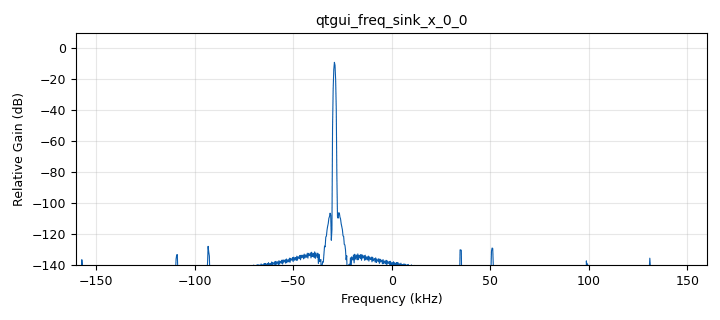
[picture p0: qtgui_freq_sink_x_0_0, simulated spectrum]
<?xml version='1.0' encoding='utf-8'?>
<?grc format='1' created='3.7.10'?>
<flow_graph>
<block>
<key>options</key>
<param><key>id</key><value>timed_xlating_fir_example</value></param>
<param><key>generate_options</key><value>qt_gui</value></param>
</block>
<block>
<key>variable</key>
<param><key>id</key><value>samp_rate</value></param>
<param><key>value</key><value>320000</value></param>
</block>
<block>
<key>variable_qtgui_range</key>
<param><key>id</key><value>strobe_freq</value></param>
<param><key>value</key><value>0</value></param>
<param><key>label</key><value>Freq</value></param>
<param><key>orient</key><value>Qt.Horizontal</value></param>
<param><key>start</key><value>-1*samp_rate/2</value></param>
<param><key>step</key><value>1e3</value></param>
<param><key>stop</key><value>samp_rate/2</value></param>
</block>
<block>
<key>analog_sig_source_x</key>
<param><key>id</key><value>analog_sig_source_x_0</value></param>
<param><key>amp</key><value>1</value></param>
<param><key>freq</key><value>1000</value></param>
<param><key>offset</key><value>0</value></param>
<param><key>type</key><value>complex</value></param>
<param><key>samp_rate</key><value>samp_rate</value></param>
<param><key>waveform</key><value>analog.GR_COS_WAVE</value></param>
</block>
<block>
<key>blocks_add_xx</key>
<param><key>id</key><value>blocks_add_xx_0</value></param>
<param><key>type</key><value>complex</value></param>
</block>
<block>
<key>blocks_ctrlport_monitor_performance</key>
<param><key>id</key><value>blocks_ctrlport_monitor_performance_0</value></param>
<param><key>_enabled</key><value>0</value></param>
<param><key>en</key><value>True</value></param>
</block>
<block>
<key>blocks_file_sink</key>
<param><key>id</key><value>blocks_file_sink_0</value></param>
<param><key>_enabled</key><value>0</value></param>
<param><key>file</key><value>tmp.dat</value></param>
<param><key>type</key><value>complex</value></param>
</block>
<block>
<key>blocks_pdu_set</key>
<param><key>id</key><value>blocks_pdu_set_0</value></param>
<param><key>k</key><value>pmt.intern("freq")</value></param>
<param><key>v</key><value>pmt.from_double(1e9)</value></param>
</block>
<block>
<key>blocks_pdu_set</key>
<param><key>id</key><value>blocks_pdu_set_0_0</value></param>
<param><key>k</key><value>pmt.intern("lo_offset")</value></param>
<param><key>v</key><value>pmt.from_double(13e3)</value></param>
</block>
<block>
<key>blocks_pdu_set</key>
<param><key>id</key><value>blocks_pdu_set_0_0_0</value></param>
<param><key>k</key><value>pmt.intern("time")</value></param>
<param><key>v</key><value>pmt.cons(pmt.from_uint64(4), pmt.from_double(0.123))</value></param>
</block>
<block>
<key>blocks_tag_debug</key>
<param><key>id</key><value>blocks_tag_debug_0</value></param>
<param><key>type</key><value>complex</value></param>
</block>
<block>
<key>blocks_tags_strobe</key>
<param><key>id</key><value>blocks_tags_strobe_0</value></param>
<param><key>key</key><value>pmt.intern("set_freq")</value></param>
<param><key>nsamps</key><value>samp_rate</value></param>
<param><key>type</key><value>complex</value></param>
<param><key>value</key><value>pmt.from_double(strobe_freq)</value></param>
</block>
<block>
<key>blocks_throttle</key>
<param><key>id</key><value>blocks_throttle_0</value></param>
<param><key>samples_per_second</key><value>samp_rate</value></param>
<param><key>type</key><value>complex</value></param>
</block>
<block>
<key>freq_xlating_fir_filter_xxx</key>
<param><key>id</key><value>freq_xlating_fir_filter_xxx_0</value></param>
<param><key>center_freq</key><value>30000</value></param>
<param><key>decim</key><value>1</value></param>
<param><key>samp_rate</key><value>samp_rate</value></param>
<param><key>taps</key><value>[1]</value></param>
<param><key>type</key><value>ccf</value></param>
</block>
<block>
<key>pdu_utils_pdu_split</key>
<param><key>id</key><value>pdu_utils_pdu_split_0</value></param>
</block>
<block>
<key>pdu_utils_qt_pdu_source</key>
<param><key>id</key><value>pdu_utils_qt_pdu_source_0</value></param>
<param><key>submit_text</key><value>Send</value></param>
<param><key>comment</key><value>This kludge of PDU Set blocks is because we don't have a dynamic QT PDU block that will generate the dictionary too.</value></param>
<param><key>defaults</key><value>[0, 1, 1, 1, 0, 1, 1, 1]</value></param>
</block>
<block>
<key>qtgui_freq_sink_x</key>
<param><key>id</key><value>qtgui_freq_sink_x_0</value></param>
<param><key>bw</key><value>samp_rate</value></param>
<param><key>fc</key><value>0</value></param>
<param><key>fftsize</key><value>1024</value></param>
<param><key>showports</key><value>True</value></param>
<param><key>type</key><value>complex</value></param>
<param><key>wintype</key><value>firdes.WIN_BLACKMAN_hARRIS</value></param>
</block>
<block>
<key>qtgui_freq_sink_x</key>
<param><key>id</key><value>qtgui_freq_sink_x_0_0</value></param>
<param><key>bw</key><value>samp_rate</value></param>
<param><key>fc</key><value>0</value></param>
<param><key>fftsize</key><value>1024</value></param>
<param><key>showports</key><value>True</value></param>
<param><key>type</key><value>complex</value></param>
<param><key>wintype</key><value>firdes.WIN_BLACKMAN_hARRIS</value></param>
</block>
<block>
<key>timing_utils_retune_uhd_to_timed_tag</key>
<param><key>id</key><value>timing_utils_retune_uhd_to_timed_tag_0</value></param>
<param><key>rate</key><value>samp_rate</value></param>
<param><key>time</key><value>0.0</value></param>
</block>
<block>
<key>timing_utils_timed_freq_xlating_fir_XXX</key>
<param><key>id</key><value>timing_utils_timed_freq_xlating_fir_XXX_0</value></param>
<param><key>center_freq</key><value>30000</value></param>
<param><key>decim</key><value>10</value></param>
<param><key>samp_rate</key><value>samp_rate</value></param>
<param><key>taps</key><value>[1]</value></param>
<param><key>type</key><value>ccf</value></param>
</block>
<connection><source_block_id>analog_sig_source_x_0</source_block_id><sink_block_id>blocks_throttle_0</sink_block_id><source_key>0</source_key><sink_key>0</sink_key></connection>
<connection><source_block_id>blocks_add_xx_0</source_block_id><sink_block_id>freq_xlating_fir_filter_xxx_0</sink_block_id><source_key>0</source_key><sink_key>0</sink_key></connection>
<connection><source_block_id>blocks_add_xx_0</source_block_id><sink_block_id>timing_utils_timed_freq_xlating_fir_XXX_0</sink_block_id><source_key>0</source_key><sink_key>0</sink_key></connection>
<connection><source_block_id>blocks_pdu_set_0</source_block_id><sink_block_id>blocks_pdu_set_0_0</sink_block_id><source_key>pdus</source_key><sink_key>pdus</sink_key></connection>
<connection><source_block_id>blocks_pdu_set_0_0</source_block_id><sink_block_id>blocks_pdu_set_0_0_0</sink_block_id><source_key>pdus</source_key><sink_key>pdus</sink_key></connection>
<connection><source_block_id>blocks_pdu_set_0_0_0</source_block_id><sink_block_id>pdu_utils_pdu_split_0</sink_block_id><source_key>pdus</source_key><sink_key>pdus</sink_key></connection>
<connection><source_block_id>blocks_tags_strobe_0</source_block_id><sink_block_id>blocks_add_xx_0</sink_block_id><source_key>0</source_key><sink_key>0</sink_key></connection>
<connection><source_block_id>blocks_throttle_0</source_block_id><sink_block_id>blocks_add_xx_0</sink_block_id><source_key>0</source_key><sink_key>1</sink_key></connection>
<connection><source_block_id>blocks_throttle_0</source_block_id><sink_block_id>timing_utils_retune_uhd_to_timed_tag_0</sink_block_id><source_key>0</source_key><sink_key>0</sink_key></connection>
<connection><source_block_id>freq_xlating_fir_filter_xxx_0</source_block_id><sink_block_id>qtgui_freq_sink_x_0_0</sink_block_id><source_key>0</source_key><sink_key>0</sink_key></connection>
<connection><source_block_id>pdu_utils_pdu_split_0</source_block_id><sink_block_id>timing_utils_retune_uhd_to_timed_tag_0</sink_block_id><source_key>dict</source_key><sink_key>command</sink_key></connection>
<connection><source_block_id>pdu_utils_qt_pdu_source_0</source_block_id><sink_block_id>blocks_pdu_set_0</sink_block_id><source_key>pdus</source_key><sink_key>pdus</sink_key></connection>
<connection><source_block_id>timing_utils_retune_uhd_to_timed_tag_0</source_block_id><sink_block_id>blocks_tag_debug_0</sink_block_id><source_key>0</source_key><sink_key>0</sink_key></connection>
<connection><source_block_id>timing_utils_timed_freq_xlating_fir_XXX_0</source_block_id><sink_block_id>blocks_file_sink_0</sink_block_id><source_key>0</source_key><sink_key>0</sink_key></connection>
<connection><source_block_id>timing_utils_timed_freq_xlating_fir_XXX_0</source_block_id><sink_block_id>qtgui_freq_sink_x_0</sink_block_id><source_key>0</source_key><sink_key>0</sink_key></connection>
</flow_graph>
